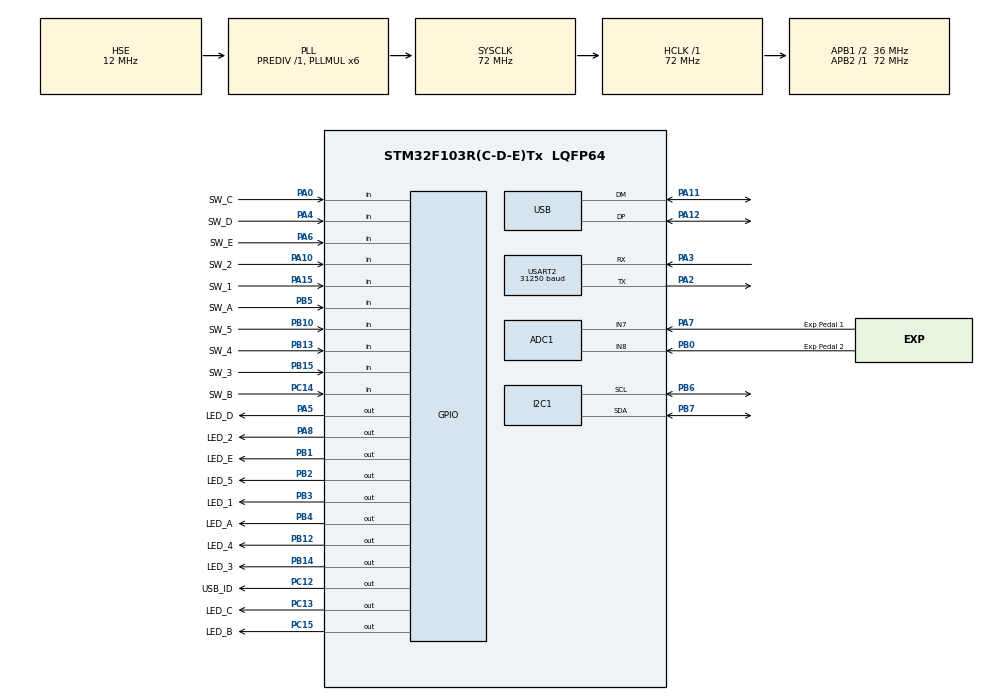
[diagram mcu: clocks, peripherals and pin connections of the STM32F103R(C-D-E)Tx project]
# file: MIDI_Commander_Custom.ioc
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ADC1.Channel-0\#ChannelRegularConversion=ADC_CHANNEL_7
ADC1.Channel-1\#ChannelRegularConversion=ADC_CHANNEL_8
ADC1.ContinuousConvMode=ENABLE
ADC1.EnableAnalogWatchDog=false
ADC1.NbrOfConversion=2
ADC1.NbrOfConversionFlag=1
ADC1.Rank-0\#ChannelRegularConversion=1
ADC1.Rank-1\#ChannelRegularConversion=2
ADC1.SamplingTime-0\#ChannelRegularConversion=ADC_SAMPLETIME_239CYCLES_5
ADC1.SamplingTime-1\#ChannelRegularConversion=ADC_SAMPLETIME_239CYCLES_5
ADC1.master=1
Dma.ADC1.2.Direction=DMA_PERIPH_TO_MEMORY
Dma.ADC1.2.Instance=DMA1_Channel1
Dma.ADC1.2.MemDataAlignment=DMA_MDATAALIGN_WORD
Dma.ADC1.2.MemInc=DMA_MINC_ENABLE
Dma.ADC1.2.Mode=DMA_CIRCULAR
Dma.ADC1.2.PeriphDataAlignment=DMA_PDATAALIGN_WORD
Dma.ADC1.2.PeriphInc=DMA_PINC_DISABLE
Dma.ADC1.2.Priority=DMA_PRIORITY_LOW
Dma.I2C1_TX.1.Direction=DMA_MEMORY_TO_PERIPH
Dma.I2C1_TX.1.Instance=DMA1_Channel6
Dma.I2C1_TX.1.MemDataAlignment=DMA_MDATAALIGN_BYTE
Dma.I2C1_TX.1.MemInc=DMA_MINC_ENABLE
Dma.I2C1_TX.1.Mode=DMA_NORMAL
Dma.I2C1_TX.1.PeriphDataAlignment=DMA_PDATAALIGN_BYTE
Dma.I2C1_TX.1.PeriphInc=DMA_PINC_DISABLE
Dma.I2C1_TX.1.Priority=DMA_PRIORITY_LOW
Dma.Request0=USART2_TX
Dma.Request1=I2C1_TX
Dma.Request2=ADC1
Dma.USART2_TX.0.Direction=DMA_MEMORY_TO_PERIPH
Dma.USART2_TX.0.Instance=DMA1_Channel7
Dma.USART2_TX.0.MemDataAlignment=DMA_MDATAALIGN_BYTE
Dma.USART2_TX.0.MemInc=DMA_MINC_ENABLE
Dma.USART2_TX.0.Mode=DMA_NORMAL
Dma.USART2_TX.0.PeriphDataAlignment=DMA_PDATAALIGN_BYTE
Dma.USART2_TX.0.PeriphInc=DMA_PINC_DISABLE
Dma.USART2_TX.0.Priority=DMA_PRIORITY_LOW
I2C1.I2C_Mode=I2C_Fast
Mcu.Family=STM32F1
Mcu.Name=STM32F103R(C-D-E)Tx
Mcu.Package=LQFP64
NVIC.DMA1_Channel1_IRQn=true\:0\:0\:false\:false\:true\:false\:true\:true
NVIC.DMA1_Channel6_IRQn=true\:1\:0\:true\:false\:true\:false\:true\:true
NVIC.DMA1_Channel7_IRQn=true\:0\:0\:false\:false\:true\:false\:true\:true
NVIC.I2C1_EV_IRQn=true\:0\:0\:false\:false\:true\:true\:true\:true
NVIC.PriorityGroup=NVIC_PRIORITYGROUP_4
NVIC.USART2_IRQn=true\:0\:0\:false\:false\:true\:true\:true\:true
NVIC.USB_LP_CAN1_RX0_IRQn=true\:0\:0\:false\:false\:true\:false\:true\:true
PA0-WKUP.GPIO_Label=SW_C
PA0-WKUP.GPIO_PuPd=GPIO_PULLUP
PA0-WKUP.Signal=GPIO_Input
PA10.GPIO_Label=SW_2
PA10.GPIO_PuPd=GPIO_PULLUP
PA10.Signal=GPIO_Input
PA11.Mode=Device
PA11.Signal=USB_DM
PA12.Mode=Device
PA12.Signal=USB_DP
PA13.Mode=Serial_Wire
PA13.Signal=SYS_JTMS-SWDIO
PA14.Mode=Serial_Wire
PA14.Signal=SYS_JTCK-SWCLK
PA15.GPIO_Label=SW_1
PA15.GPIO_PuPd=GPIO_PULLUP
PA15.Signal=GPIO_Input
PA2.Mode=Asynchronous
PA2.Signal=USART2_TX
PA3.Mode=Asynchronous
PA3.Signal=USART2_RX
PA4.GPIO_Label=SW_D
PA4.GPIO_PuPd=GPIO_PULLUP
PA4.Signal=GPIO_Input
PA5.GPIO_Label=LED_D
PA5.Signal=GPIO_Output
PA6.GPIO_Label=SW_E
PA6.GPIO_PuPd=GPIO_PULLUP
PA6.Signal=GPIO_Input
PA7.GPIO_Label=Exp Pedal 1
PA7.Signal=ADCx_IN7
PA8.GPIO_Label=LED_2
PA8.Signal=GPIO_Output
PB0.GPIO_Label=Exp Pedal 2
PB0.Signal=ADCx_IN8
PB1.GPIO_Label=LED_E
PB1.Signal=GPIO_Output
PB10.GPIO_Label=SW_5
PB10.GPIO_PuPd=GPIO_PULLUP
PB10.Signal=GPIO_Input
PB12.GPIO_Label=LED_4
PB12.Signal=GPIO_Output
PB13.GPIO_Label=SW_4
PB13.GPIO_PuPd=GPIO_PULLUP
PB13.Signal=GPIO_Input
PB14.GPIO_Label=LED_3
PB14.Signal=GPIO_Output
PB15.GPIO_Label=SW_3
PB15.GPIO_PuPd=GPIO_PULLUP
PB15.Signal=GPIO_Input
PB2.GPIO_Label=LED_5
PB2.Signal=GPIO_Output
PB3.GPIO_Label=LED_1
PB3.Signal=GPIO_Output
PB4.GPIO_Label=LED_A
PB4.Signal=GPIO_Output
PB5.GPIO_Label=SW_A
PB5.GPIO_PuPd=GPIO_PULLUP
PB5.Signal=GPIO_Input
PB6.GPIO_Pu=GPIO_PULLUP
PB6.Mode=I2C
PB6.Signal=I2C1_SCL
PB7.GPIO_Pu=GPIO_PULLUP
PB7.Mode=I2C
PB7.Signal=I2C1_SDA
PC12.GPIO_Label=USB_ID
PC12.Signal=GPIO_Output
PC13-TAMPER-RTC.GPIO_Label=LED_C
PC13-TAMPER-RTC.Signal=GPIO_Output
PC14-OSC32_IN.GPIO_Label=SW_B
PC14-OSC32_IN.GPIO_PuPd=GPIO_PULLUP
PC14-OSC32_IN.Signal=GPIO_Input
PC15-OSC32_OUT.GPIO_Label=LED_B
PC15-OSC32_OUT.Signal=GPIO_Output
PD0-OSC_IN.Mode=HSE-External-Oscillator
PD0-OSC_IN.Signal=RCC_OSC_IN
PD1-OSC_OUT.Mode=HSE-External-Oscillator
PD1-OSC_OUT.Signal=RCC_OSC_OUT
ProjectManager.HeapSize=0x800
ProjectManager.StackSize=0x400
ProjectManager.TargetToolchain=STM32CubeIDE
RCC.ADCPresc=RCC_ADCPCLK2_DIV6
RCC.AHBFreq_Value=72000000
RCC.APB1CLKDivider=RCC_HCLK_DIV2
RCC.APB1Freq_Value=36000000
RCC.APB1TimFreq_Value=72000000
RCC.APB2Freq_Value=72000000
RCC.APB2TimFreq_Value=72000000
RCC.HCLKFreq_Value=72000000
RCC.HSE_VALUE=12000000
RCC.PLLMUL=RCC_PLL_MUL6
RCC.PLLSourceVirtual=RCC_PLLSOURCE_HSE
RCC.SYSCLKFreq_VALUE=72000000
RCC.SYSCLKSource=RCC_SYSCLKSOURCE_PLLCLK
RCC.USBFreq_Value=48000000
RCC.USBPrescaler=RCC_USBCLKSOURCE_PLL_DIV1_5
SH.ADCx_IN7.0=ADC1_IN7,IN7
SH.ADCx_IN8.0=ADC1_IN8,IN8
USART2.BaudRate=31250
USART2.VirtualMode=VM_ASYNC
USB_DEVICE.CLASS_NAME_FS=AUDIO
USB_DEVICE.CONFIGURATION_STRING_AUDIO_FS=Midi Config
USB_DEVICE.INTERFACE_STRING_AUDIO_FS=Midi Controller
USB_DEVICE.PRODUCT_STRING_AUDIO_FS=MeloAudio Custom
USB_DEVICE.VirtualMode=Audio
USB_DEVICE.VirtualModeFS=Audio_FS
VP_USB_DEVICE_VS_USB_DEVICE_AUDIO_FS.Mode=AUDIO_FS
board=custom

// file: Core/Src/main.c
/* USER CODE BEGIN Header */
/**
  ******************************************************************************
  * @file           : main.c
  * @brief          : Main program body
  ******************************************************************************
  * @attention
  *
  * <h2><center>&copy; Copyright (c) 2021 STMicroelectronics.
  * All rights reserved.</center></h2>
  *
  * This software component is licensed by ST under BSD 3-Clause license,
  * the "License"; You may not use this file except in compliance with the
  * License. You may obtain a copy of the License at:
  *                        opensource.org/licenses/BSD-3-Clause
  *
  ******************************************************************************
  */
/* USER CODE END Header */
#include "main.h"
#include "usb_device.h"

/* USER CODE BEGIN Includes */
#include "ssd1306.h"
#include "ssd1306_tests.h"
#include <stdbool.h>
#include "usbd_midi_if.h"
#include "midi_defines.h"
#include "midi_cmds.h"
#include "switch_router.h"
#include "display.h"
/* USER CODE END Includes */

ADC_HandleTypeDef hadc1;
DMA_HandleTypeDef hdma_adc1;

I2C_HandleTypeDef hi2c1;
DMA_HandleTypeDef hdma_i2c1_tx;

UART_HandleTypeDef huart2;
DMA_HandleTypeDef hdma_usart2_tx;

/* USER CODE BEGIN PV */
uint8_t f_sys_config_complete = 0;

/* USER CODE END PV */

void SystemClock_Config(void);
static void MX_GPIO_Init(void);
static void MX_DMA_Init(void);
static void MX_USART2_UART_Init(void);
static void MX_I2C1_Init(void);
static void MX_ADC1_Init(void);

/* USER CODE BEGIN 0 */
uint32_t buffer1;
uint32_t adc_value1, adc_value2;

#define ADC_BUFLEN 2
uint32_t adcBuf[ADC_BUFLEN];   //For ADC samples.

void HAL_ADC_ConvCpltCallback(ADC_HandleTypeDef *hadc) {
	adc_value1 = adcBuf[0];
	adc_value2 = adcBuf[1];
//	adc_value1 = buffer1;
}
/* USER CODE END 0 */

int main(void)
{

  /* MCU Configuration--------------------------------------------------------*/

  /* Reset of all peripherals, Initializes the Flash interface and the Systick. */
  HAL_Init();

  /* Configure the system clock */
  SystemClock_Config();

  /* Initialize all configured peripherals */
  MX_GPIO_Init();
  MX_DMA_Init();
  MX_USART2_UART_Init();
  MX_I2C1_Init();
  MX_USB_DEVICE_Init();
  MX_ADC1_Init();
  /* USER CODE BEGIN 2 */

  // Reset the USB interface in case it's still plugged in.
  HAL_GPIO_WritePin(USB_ID_GPIO_Port, USB_ID_Pin, GPIO_PIN_RESET);

  display_init();

  // Check we've got a 256kB device, in case Melo switch to a smaller device at some point
  uint16_t flash_size = (*(uint16_t*)FLASHSIZE_BASE);
  uint16_t min_size = 256;
  if(flash_size < min_size) {
	  char msg[25];
	  sprintf(msg, "Mem %3dkb < %3dkb", flash_size, min_size);
	  Error(msg);
  }

  display_setConfigName();

  sw_led_init();

  HAL_Delay(1000);
  HAL_GPIO_WritePin(USB_ID_GPIO_Port, USB_ID_Pin, GPIO_PIN_SET);

  HAL_Delay(200);
  f_sys_config_complete = 1; // Don't scan switch changes until everything is init'd
  ssd1306_Fill(Black);
  ssd1306_UpdateScreen();
  HAL_ADCEx_Calibration_Start(&hadc1);

  HAL_Delay(100);

  display_setBankName(0);
  HAL_ADC_Start_DMA(&hadc1, adcBuf, ADC_BUFLEN);

  /* USER CODE END 2 */

  /* Infinite loop */
  /* USER CODE BEGIN WHILE */
  while (1)
  {
	  handle_switches();
	  handle_exp_pedals(adc_value1, adc_value2);

	  HAL_Delay(100);

    /* USER CODE END WHILE */

    /* USER CODE BEGIN 3 */
  }
  HAL_ADC_Stop_DMA(&hadc1);
  /* USER CODE END 3 */
}

void SystemClock_Config(void)
{
  RCC_OscInitTypeDef RCC_OscInitStruct = {0};
  RCC_ClkInitTypeDef RCC_ClkInitStruct = {0};
  RCC_PeriphCLKInitTypeDef PeriphClkInit = {0};

  /** Initializes the RCC Oscillators according to the specified parameters
  * in the RCC_OscInitTypeDef structure.
  */
  RCC_OscInitStruct.OscillatorType = RCC_OSCILLATORTYPE_HSE;
  RCC_OscInitStruct.HSEState = RCC_HSE_ON;
  RCC_OscInitStruct.HSEPredivValue = RCC_HSE_PREDIV_DIV1;
  RCC_OscInitStruct.HSIState = RCC_HSI_ON;
  RCC_OscInitStruct.PLL.PLLState = RCC_PLL_ON;
  RCC_OscInitStruct.PLL.PLLSource = RCC_PLLSOURCE_HSE;
  RCC_OscInitStruct.PLL.PLLMUL = RCC_PLL_MUL6;
  if (HAL_RCC_OscConfig(&RCC_OscInitStruct) != HAL_OK)
  {
    Error_Handler();
  }

  /** Initializes the CPU, AHB and APB buses clocks
  */
  RCC_ClkInitStruct.ClockType = RCC_CLOCKTYPE_HCLK|RCC_CLOCKTYPE_SYSCLK
                              |RCC_CLOCKTYPE_PCLK1|RCC_CLOCKTYPE_PCLK2;
  RCC_ClkInitStruct.SYSCLKSource = RCC_SYSCLKSOURCE_PLLCLK;
  RCC_ClkInitStruct.AHBCLKDivider = RCC_SYSCLK_DIV1;
  RCC_ClkInitStruct.APB1CLKDivider = RCC_HCLK_DIV2;
  RCC_ClkInitStruct.APB2CLKDivider = RCC_HCLK_DIV1;

  if (HAL_RCC_ClockConfig(&RCC_ClkInitStruct, FLASH_LATENCY_2) != HAL_OK)
  {
    Error_Handler();
  }
  PeriphClkInit.PeriphClockSelection = RCC_PERIPHCLK_ADC|RCC_PERIPHCLK_USB;
  PeriphClkInit.AdcClockSelection = RCC_ADCPCLK2_DIV6;
  PeriphClkInit.UsbClockSelection = RCC_USBCLKSOURCE_PLL_DIV1_5;
  if (HAL_RCCEx_PeriphCLKConfig(&PeriphClkInit) != HAL_OK)
  {
    Error_Handler();
  }
}

static void MX_ADC1_Init(void)
{

  ADC_ChannelConfTypeDef sConfig = {0};

  /** Common config
  */
  hadc1.Instance = ADC1;
  hadc1.Init.ScanConvMode = ADC_SCAN_ENABLE;
  hadc1.Init.ContinuousConvMode = ENABLE;
  hadc1.Init.DiscontinuousConvMode = DISABLE;
  hadc1.Init.ExternalTrigConv = ADC_SOFTWARE_START;
  hadc1.Init.DataAlign = ADC_DATAALIGN_RIGHT;
  hadc1.Init.NbrOfConversion = 2;
  if (HAL_ADC_Init(&hadc1) != HAL_OK)
  {
    Error_Handler();
  }

  /** Configure Regular Channel
  */
  sConfig.Channel = ADC_CHANNEL_7;
  sConfig.Rank = ADC_REGULAR_RANK_1;
  sConfig.SamplingTime = ADC_SAMPLETIME_239CYCLES_5;
  if (HAL_ADC_ConfigChannel(&hadc1, &sConfig) != HAL_OK)
  {
    Error_Handler();
  }

  /** Configure Regular Channel
  */
  sConfig.Channel = ADC_CHANNEL_8;
  sConfig.Rank = ADC_REGULAR_RANK_2;
  if (HAL_ADC_ConfigChannel(&hadc1, &sConfig) != HAL_OK)
  {
    Error_Handler();
  }

}

static void MX_I2C1_Init(void)
{

  hi2c1.Instance = I2C1;
  hi2c1.Init.ClockSpeed = 400000;
  hi2c1.Init.DutyCycle = I2C_DUTYCYCLE_2;
  hi2c1.Init.OwnAddress1 = 0;
  hi2c1.Init.AddressingMode = I2C_ADDRESSINGMODE_7BIT;
  hi2c1.Init.DualAddressMode = I2C_DUALADDRESS_DISABLE;
  hi2c1.Init.OwnAddress2 = 0;
  hi2c1.Init.GeneralCallMode = I2C_GENERALCALL_DISABLE;
  hi2c1.Init.NoStretchMode = I2C_NOSTRETCH_DISABLE;
  if (HAL_I2C_Init(&hi2c1) != HAL_OK)
  {
    Error_Handler();
  }

}

static void MX_USART2_UART_Init(void)
{

  huart2.Instance = USART2;
  huart2.Init.BaudRate = 31250;
  huart2.Init.WordLength = UART_WORDLENGTH_8B;
  huart2.Init.StopBits = UART_STOPBITS_1;
  huart2.Init.Parity = UART_PARITY_NONE;
  huart2.Init.Mode = UART_MODE_TX_RX;
  huart2.Init.HwFlowCtl = UART_HWCONTROL_NONE;
  huart2.Init.OverSampling = UART_OVERSAMPLING_16;
  if (HAL_UART_Init(&huart2) != HAL_OK)
  {
    Error_Handler();
  }

}

static void MX_DMA_Init(void)
{

  /* DMA controller clock enable */
  __HAL_RCC_DMA1_CLK_ENABLE();

  /* DMA interrupt init */
  /* DMA1_Channel1_IRQn interrupt configuration */
  HAL_NVIC_SetPriority(DMA1_Channel1_IRQn, 0, 0);
  HAL_NVIC_EnableIRQ(DMA1_Channel1_IRQn);
  /* DMA1_Channel6_IRQn interrupt configuration */
  HAL_NVIC_SetPriority(DMA1_Channel6_IRQn, 1, 0);
  HAL_NVIC_EnableIRQ(DMA1_Channel6_IRQn);
  /* DMA1_Channel7_IRQn interrupt configuration */
  HAL_NVIC_SetPriority(DMA1_Channel7_IRQn, 0, 0);
  HAL_NVIC_EnableIRQ(DMA1_Channel7_IRQn);

}

static void MX_GPIO_Init(void)
{
  GPIO_InitTypeDef GPIO_InitStruct = {0};

  /* GPIO Ports Clock Enable */
  __HAL_RCC_GPIOC_CLK_ENABLE();
  __HAL_RCC_GPIOD_CLK_ENABLE();
  __HAL_RCC_GPIOA_CLK_ENABLE();
  __HAL_RCC_GPIOB_CLK_ENABLE();

  /*Configure GPIO pin Output Level */
  HAL_GPIO_WritePin(GPIOC, LED_C_Pin|LED_B_Pin|USB_ID_Pin, GPIO_PIN_RESET);

  /*Configure GPIO pin Output Level */
  HAL_GPIO_WritePin(GPIOA, LED_D_Pin|LED_2_Pin, GPIO_PIN_RESET);

  /*Configure GPIO pin Output Level */
  HAL_GPIO_WritePin(GPIOB, LED_E_Pin|LED_5_Pin|LED_4_Pin|LED_3_Pin
                          |LED_1_Pin|LED_A_Pin, GPIO_PIN_RESET);

  /*Configure GPIO pins : LED_C_Pin LED_B_Pin USB_ID_Pin */
  GPIO_InitStruct.Pin = LED_C_Pin|LED_B_Pin|USB_ID_Pin;
  GPIO_InitStruct.Mode = GPIO_MODE_OUTPUT_PP;
  GPIO_InitStruct.Pull = GPIO_NOPULL;
  GPIO_InitStruct.Speed = GPIO_SPEED_FREQ_LOW;
  HAL_GPIO_Init(GPIOC, &GPIO_InitStruct);

  /*Configure GPIO pin : SW_B_Pin */
  GPIO_InitStruct.Pin = SW_B_Pin;
  GPIO_InitStruct.Mode = GPIO_MODE_INPUT;
  GPIO_InitStruct.Pull = GPIO_PULLUP;
  HAL_GPIO_Init(SW_B_GPIO_Port, &GPIO_InitStruct);

  /*Configure GPIO pins : SW_C_Pin SW_D_Pin SW_E_Pin SW_2_Pin
                           SW_1_Pin */
  GPIO_InitStruct.Pin = SW_C_Pin|SW_D_Pin|SW_E_Pin|SW_2_Pin
                          |SW_1_Pin;
  GPIO_InitStruct.Mode = GPIO_MODE_INPUT;
  GPIO_InitStruct.Pull = GPIO_PULLUP;
  HAL_GPIO_Init(GPIOA, &GPIO_InitStruct);

  /*Configure GPIO pins : LED_D_Pin LED_2_Pin */
  GPIO_InitStruct.Pin = LED_D_Pin|LED_2_Pin;
  GPIO_InitStruct.Mode = GPIO_MODE_OUTPUT_PP;
  GPIO_InitStruct.Pull = GPIO_NOPULL;
  GPIO_InitStruct.Speed = GPIO_SPEED_FREQ_LOW;
  HAL_GPIO_Init(GPIOA, &GPIO_InitStruct);

  /*Configure GPIO pins : LED_E_Pin LED_5_Pin LED_4_Pin LED_3_Pin
                           LED_1_Pin LED_A_Pin */
  GPIO_InitStruct.Pin = LED_E_Pin|LED_5_Pin|LED_4_Pin|LED_3_Pin
                          |LED_1_Pin|LED_A_Pin;
  GPIO_InitStruct.Mode = GPIO_MODE_OUTPUT_PP;
  GPIO_InitStruct.Pull = GPIO_NOPULL;
  GPIO_InitStruct.Speed = GPIO_SPEED_FREQ_LOW;
  HAL_GPIO_Init(GPIOB, &GPIO_InitStruct);

  /*Configure GPIO pins : SW_5_Pin SW_4_Pin SW_3_Pin SW_A_Pin */
  GPIO_InitStruct.Pin = SW_5_Pin|SW_4_Pin|SW_3_Pin|SW_A_Pin;
  GPIO_InitStruct.Mode = GPIO_MODE_INPUT;
  GPIO_InitStruct.Pull = GPIO_PULLUP;
  HAL_GPIO_Init(GPIOB, &GPIO_InitStruct);

}

/* USER CODE BEGIN 4 */

/*
 * @brief This function can be called to display an error message on the screen,
 * if the display is on, before calling Error_Handler() to stop all operations.
 */
void Error(char *msg) {
	if (ssd1306_GetDisplayOn() == 0) {
		/* Display is on */
		ssd1306_Fill(Black);
		ssd1306_SetCursor(2, 0);
		ssd1306_WriteString("Error:", Font_6x8, White);
		ssd1306_SetCursor(2, 9);
		ssd1306_WriteString(msg, Font_6x8, White);
		ssd1306_UpdateScreen();
	}

	Error_Handler();
}

/* USER CODE END 4 */

void Error_Handler(void)
{
  __disable_irq();
  while (1)
  {
  }
}
